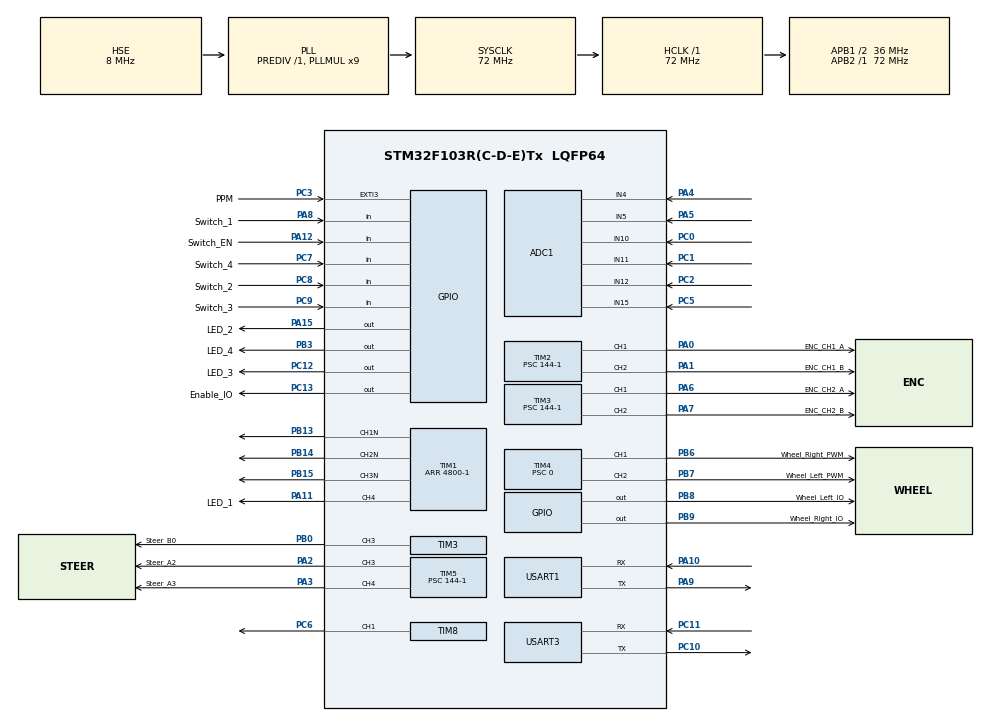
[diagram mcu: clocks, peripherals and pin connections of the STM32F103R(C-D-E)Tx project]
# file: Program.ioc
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ADC1.Channel-0\#ChannelRegularConversion=ADC_CHANNEL_4
ADC1.Channel-1\#ChannelRegularConversion=ADC_CHANNEL_15
ADC1.Channel-2\#ChannelRegularConversion=ADC_CHANNEL_5
ADC1.Channel-3\#ChannelRegularConversion=ADC_CHANNEL_10
ADC1.Channel-4\#ChannelRegularConversion=ADC_CHANNEL_11
ADC1.Channel-5\#ChannelRegularConversion=ADC_CHANNEL_12
ADC1.ContinuousConvMode=ENABLE
ADC1.NbrOfConversion=6
ADC1.NbrOfConversionFlag=1
ADC1.Rank-0\#ChannelRegularConversion=1
ADC1.Rank-1\#ChannelRegularConversion=2
ADC1.Rank-2\#ChannelRegularConversion=3
ADC1.Rank-3\#ChannelRegularConversion=4
ADC1.Rank-4\#ChannelRegularConversion=5
ADC1.Rank-5\#ChannelRegularConversion=6
ADC1.SamplingTime-0\#ChannelRegularConversion=ADC_SAMPLETIME_239CYCLES_5
ADC1.SamplingTime-1\#ChannelRegularConversion=ADC_SAMPLETIME_239CYCLES_5
ADC1.SamplingTime-2\#ChannelRegularConversion=ADC_SAMPLETIME_239CYCLES_5
ADC1.SamplingTime-3\#ChannelRegularConversion=ADC_SAMPLETIME_239CYCLES_5
ADC1.SamplingTime-4\#ChannelRegularConversion=ADC_SAMPLETIME_239CYCLES_5
ADC1.SamplingTime-5\#ChannelRegularConversion=ADC_SAMPLETIME_239CYCLES_5
ADC1.master=1
Dma.ADC1.0.Direction=DMA_PERIPH_TO_MEMORY
Dma.ADC1.0.Instance=DMA1_Channel1
Dma.ADC1.0.MemDataAlignment=DMA_MDATAALIGN_HALFWORD
Dma.ADC1.0.MemInc=DMA_MINC_ENABLE
Dma.ADC1.0.Mode=DMA_CIRCULAR
Dma.ADC1.0.PeriphDataAlignment=DMA_PDATAALIGN_HALFWORD
Dma.ADC1.0.PeriphInc=DMA_PINC_DISABLE
Dma.ADC1.0.Priority=DMA_PRIORITY_LOW
Dma.Request0=ADC1
Dma.Request1=USART1_TX
Dma.USART1_TX.1.Direction=DMA_MEMORY_TO_PERIPH
Dma.USART1_TX.1.Instance=DMA1_Channel4
Dma.USART1_TX.1.MemDataAlignment=DMA_MDATAALIGN_BYTE
Dma.USART1_TX.1.MemInc=DMA_MINC_ENABLE
Dma.USART1_TX.1.Mode=DMA_NORMAL
Dma.USART1_TX.1.PeriphDataAlignment=DMA_PDATAALIGN_BYTE
Dma.USART1_TX.1.PeriphInc=DMA_PINC_DISABLE
Dma.USART1_TX.1.Priority=DMA_PRIORITY_HIGH
Mcu.Family=STM32F1
Mcu.Name=STM32F103R(C-D-E)Tx
Mcu.Package=LQFP64
Mcu.UserConstants=huart_DBG,$$_USART1_IP_HANDLE_$$;huart_USER,$$_USART3_IP_HANDLE_$$;htim_RC,$$_TIM6_IP_HANDLE_$$
NVIC.DMA1_Channel1_IRQn=true\:0\:0\:false\:false\:true\:false\:true\:true
NVIC.DMA1_Channel4_IRQn=true\:0\:0\:false\:false\:true\:false\:true\:true
NVIC.EXTI3_IRQn=true\:0\:0\:false\:false\:true\:true\:true\:true
NVIC.PriorityGroup=NVIC_PRIORITYGROUP_4
NVIC.TIM6_IRQn=true\:0\:0\:false\:false\:true\:true\:true\:true
NVIC.TIM7_IRQn=true\:15\:0\:false\:false\:true\:false\:true\:true
NVIC.TimeBase=TIM7_IRQn
NVIC.TimeBaseIP=TIM7
PA0-WKUP.GPIO_Label=ENC_CH1_A
PA0-WKUP.GPIO_Speed=GPIO_SPEED_FREQ_HIGH
PA0-WKUP.Signal=S_TIM2_CH1_ETR
PA1.GPIO_Label=ENC_CH1_B
PA1.GPIO_Speed=GPIO_SPEED_FREQ_HIGH
PA1.Signal=S_TIM2_CH2
PA10.Mode=Asynchronous
PA10.Signal=USART1_RX
PA11.GPIO_Label=LED_1
PA11.Signal=S_TIM1_CH4
PA12.GPIO_Label=Switch_EN
PA12.Signal=GPIO_Input
PA13.Mode=Serial_Wire
PA13.Signal=SYS_JTMS-SWDIO
PA14.Mode=Serial_Wire
PA14.Signal=SYS_JTCK-SWCLK
PA15.GPIO_Label=LED_2
PA15.GPIO_Speed=GPIO_SPEED_FREQ_HIGH
PA15.Signal=GPIO_Output
PA2.GPIO_Label=Steer_A2
PA2.GPIO_Speed=GPIO_SPEED_FREQ_HIGH
PA2.Signal=S_TIM5_CH3
PA3.GPIO_Label=Steer_A3
PA3.GPIO_Speed=GPIO_SPEED_FREQ_HIGH
PA3.Signal=S_TIM5_CH4
PA4.Signal=ADCx_IN4
PA5.Signal=ADCx_IN5
PA6.GPIO_Label=ENC_CH2_A
PA6.GPIO_Speed=GPIO_SPEED_FREQ_HIGH
PA6.Signal=S_TIM3_CH1
PA7.GPIO_Label=ENC_CH2_B
PA7.GPIO_Speed=GPIO_SPEED_FREQ_HIGH
PA7.Signal=S_TIM3_CH2
PA8.GPIO_Label=Switch_1
PA8.GPIO_PuPd=GPIO_PULLUP
PA8.Signal=GPIO_Input
PA9.Mode=Asynchronous
PA9.Signal=USART1_TX
PB0.GPIO_Label=Steer_B0
PB0.GPIO_Speed=GPIO_SPEED_FREQ_HIGH
PB0.Signal=S_TIM3_CH3
PB13.GPIO_Speed=GPIO_SPEED_FREQ_HIGH
PB13.Mode=Output Compare1 CH1N
PB13.Signal=TIM1_CH1N
PB14.GPIO_Speed=GPIO_SPEED_FREQ_HIGH
PB14.Mode=Output Compare2 CH2N
PB14.Signal=TIM1_CH2N
PB15.GPIO_Speed=GPIO_SPEED_FREQ_HIGH
PB15.Mode=Output Compare3 CH3N
PB15.Signal=TIM1_CH3N
PB3.GPIO_Label=LED_4
PB3.GPIO_Speed=GPIO_SPEED_FREQ_HIGH
PB3.Signal=GPIO_Output
PB6.GPIO_Label=Wheel_Right_PWM
PB6.GPIO_Speed=GPIO_SPEED_FREQ_HIGH
PB6.Signal=S_TIM4_CH1
PB7.GPIO_Label=Wheel_Left_PWM
PB7.Signal=S_TIM4_CH2
PB8.GPIO_Label=Wheel_Left_IO
PB8.GPIO_Speed=GPIO_SPEED_FREQ_HIGH
PB8.Signal=GPIO_Output
PB9.GPIO_Label=Wheel_Right_IO
PB9.GPIO_Speed=GPIO_SPEED_FREQ_HIGH
PB9.Signal=GPIO_Output
PC0.Signal=ADCx_IN10
PC1.Signal=ADCx_IN11
PC10.Mode=Asynchronous
PC10.Signal=USART3_TX
PC11.Mode=Asynchronous
PC11.Signal=USART3_RX
PC12.GPIO_Label=LED_3
PC12.GPIO_Speed=GPIO_SPEED_FREQ_HIGH
PC12.Signal=GPIO_Output
PC13-TAMPER-RTC.GPIO_Label=Enable_IO
PC13-TAMPER-RTC.GPIO_Speed=GPIO_SPEED_FREQ_HIGH
PC13-TAMPER-RTC.Signal=GPIO_Output
PC2.Signal=ADCx_IN12
PC3.GPIO_Label=PPM
PC3.GPIO_ModeDefaultEXTI=GPIO_MODE_IT_FALLING
PC3.Signal=GPXTI3
PC5.Signal=ADCx_IN15
PC6.GPIO_Speed=GPIO_SPEED_FREQ_HIGH
PC6.Signal=S_TIM8_CH1
PC7.GPIO_Label=Switch_4
PC7.GPIO_PuPd=GPIO_PULLUP
PC7.Signal=GPIO_Input
PC8.GPIO_Label=Switch_2
PC8.GPIO_PuPd=GPIO_PULLUP
PC8.Signal=GPIO_Input
PC9.GPIO_Label=Switch_3
PC9.GPIO_PuPd=GPIO_PULLUP
PC9.Signal=GPIO_Input
PD0-OSC_IN.Mode=HSE-External-Oscillator
PD0-OSC_IN.Signal=RCC_OSC_IN
PD1-OSC_OUT.Mode=HSE-External-Oscillator
PD1-OSC_OUT.Signal=RCC_OSC_OUT
ProjectManager.HeapSize=0x200
ProjectManager.StackSize=0x400
ProjectManager.TargetToolchain=CMake
RCC.ADCPresc=RCC_ADCPCLK2_DIV6
RCC.AHBFreq_Value=72000000
RCC.APB1CLKDivider=RCC_HCLK_DIV2
RCC.APB1Freq_Value=36000000
RCC.APB1TimFreq_Value=72000000
RCC.APB2Freq_Value=72000000
RCC.APB2TimFreq_Value=72000000
RCC.HCLKFreq_Value=72000000
RCC.PLLMUL=RCC_PLL_MUL9
RCC.PLLSourceVirtual=RCC_PLLSOURCE_HSE
RCC.RCC_MCOSource=RCC_MCO1SOURCE_PLLCLK
RCC.SYSCLKFreq_VALUE=72000000
RCC.SYSCLKSource=RCC_SYSCLKSOURCE_PLLCLK
RCC.USBFreq_Value=72000000
SH.ADCx_IN10.0=ADC1_IN10,IN10
SH.ADCx_IN11.0=ADC1_IN11,IN11
SH.ADCx_IN12.0=ADC1_IN12,IN12
SH.ADCx_IN15.0=ADC1_IN15,IN15
SH.ADCx_IN4.0=ADC1_IN4,IN4
SH.ADCx_IN5.0=ADC1_IN5,IN5
SH.S_TIM1_CH4.0=TIM1_CH4,PWM Generation4 CH4
SH.S_TIM2_CH1_ETR.0=TIM2_CH1,PWM Generation1 CH1
SH.S_TIM2_CH2.0=TIM2_CH2,PWM Generation2 CH2
SH.S_TIM3_CH1.0=TIM3_CH1,PWM Generation1 CH1
SH.S_TIM3_CH2.0=TIM3_CH2,PWM Generation2 CH2
SH.S_TIM3_CH3.0=TIM3_CH3,PWM Generation3 CH3
SH.S_TIM4_CH1.0=TIM4_CH1,PWM Generation1 CH1
SH.S_TIM4_CH2.0=TIM4_CH2,PWM Generation2 CH2
SH.S_TIM5_CH3.0=TIM5_CH3,PWM Generation3 CH3
SH.S_TIM5_CH4.0=TIM5_CH4,PWM Generation4 CH4
SH.S_TIM8_CH1.0=TIM8_CH1,PWM Generation1 CH1
TIM1.AutoReloadPreload=TIM_AUTORELOAD_PRELOAD_ENABLE
TIM1.Channel-Output\ Compare1\ CH1N=TIM_CHANNEL_1
TIM1.Channel-Output\ Compare2\ CH2N=TIM_CHANNEL_2
TIM1.Channel-Output\ Compare3\ CH3N=TIM_CHANNEL_3
TIM1.Channel-PWM\ Generation4\ CH4=TIM_CHANNEL_4
TIM1.OC1Preload=ENABLE
TIM1.OC2Preload=ENABLE
TIM1.OC3Preload=ENABLE
TIM1.OCMode_1=TIM_OCMODE_TOGGLE
TIM1.OCMode_2=TIM_OCMODE_ACTIVE
TIM1.OCMode_3=TIM_OCMODE_FORCED_ACTIVE
TIM1.OCNPolarity_1=TIM_OCNPOLARITY_HIGH
TIM1.OCNPolarity_2=TIM_OCNPOLARITY_HIGH
TIM1.OCNPolarity_3=TIM_OCNPOLARITY_HIGH
TIM1.Period=4800-1
TIM1.Pulse-Output\ Compare1\ CH1N=500
TIM1.Pulse-Output\ Compare2\ CH2N=500
TIM1.Pulse-Output\ Compare3\ CH3N=500
TIM2.AutoReloadPreload=TIM_AUTORELOAD_PRELOAD_ENABLE
TIM2.Channel-PWM\ Generation1\ CH1=TIM_CHANNEL_1
TIM2.Channel-PWM\ Generation2\ CH2=TIM_CHANNEL_2
TIM2.Period=10000-1
TIM2.Prescaler=144-1
TIM2.Pulse-PWM\ Generation1\ CH1=750
TIM2.Pulse-PWM\ Generation2\ CH2=750
TIM3.AutoReloadPreload=TIM_AUTORELOAD_PRELOAD_ENABLE
TIM3.Channel-PWM\ Generation1\ CH1=TIM_CHANNEL_1
TIM3.Channel-PWM\ Generation2\ CH2=TIM_CHANNEL_2
TIM3.Channel-PWM\ Generation3\ CH3=TIM_CHANNEL_3
TIM3.Period=10000-1
TIM3.Prescaler=144-1
TIM3.Pulse-PWM\ Generation1\ CH1=750
TIM3.Pulse-PWM\ Generation2\ CH2=750
TIM3.Pulse-PWM\ Generation3\ CH3=750
TIM4.AutoReloadPreload=TIM_AUTORELOAD_PRELOAD_ENABLE
TIM4.Channel-PWM\ Generation1\ CH1=TIM_CHANNEL_1
TIM4.Channel-PWM\ Generation2\ CH2=TIM_CHANNEL_2
TIM4.OCFastMode_PWM-PWM\ Generation1\ CH1=TIM_OCFAST_DISABLE
TIM4.Period=4800-1
TIM4.Prescaler=0
TIM4.Pulse-PWM\ Generation1\ CH1=0
TIM5.AutoReloadPreload=TIM_AUTORELOAD_PRELOAD_ENABLE
TIM5.Channel-PWM\ Generation3\ CH3=TIM_CHANNEL_3
TIM5.Channel-PWM\ Generation4\ CH4=TIM_CHANNEL_4
TIM5.Period=10000
TIM5.Prescaler=144-1
TIM5.Pulse-PWM\ Generation3\ CH3=750
TIM5.Pulse-PWM\ Generation4\ CH4=750
TIM6.AutoReloadPreload=TIM_AUTORELOAD_PRELOAD_ENABLE
TIM6.Period=0xFFFF
TIM6.Prescaler=72-1
TIM8.Channel-PWM\ Generation1\ CH1=TIM_CHANNEL_1
TIM8.Period=4800-1
TIM8.Prescaler=0
USART1.VirtualMode=VM_ASYNC
USART3.VirtualMode=VM_ASYNC
VP_SYS_VS_tim7.Mode=TIM7
VP_TIM1_VS_ClockSourceINT.Mode=Internal
VP_TIM2_VS_ClockSourceINT.Mode=Internal
VP_TIM3_VS_ClockSourceINT.Mode=Internal
VP_TIM4_VS_ClockSourceINT.Mode=Internal
VP_TIM5_VS_ClockSourceINT.Mode=Internal
VP_TIM6_VS_ClockSourceINT.Mode=Enable_Timer
VP_TIM8_VS_ClockSourceINT.Mode=Internal
board=custom

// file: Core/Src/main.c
/* USER CODE BEGIN Header */
/**
  ******************************************************************************
  * @file           : main.c
  * @brief          : Main program body
  ******************************************************************************
  * @attention
  *
  * Copyright (c) 2023 STMicroelectronics.
  * All rights reserved.
  *
  * This software is licensed under terms that can be found in the LICENSE file
  * in the root directory of this software component.
  * If no LICENSE file comes with this software, it is provided AS-IS.
  *
  ******************************************************************************
  */
 /* * * * * * * * * * * * * * * * * * * * * * * * * * * * * * * * * * * * * * * * * * * * * * * * * * *
  *....................................................................................................*
  *....................................................................................................*
  *....................................................................................................*
  *.............................................tttttttttttttttttttttt.................................*
  *............................................ttttttttttttttttttttttt.................................*
  *............................................tttttttttttttttttttttt..................................*
  *...........................................tttttttttttttttttttttt...................................*
  *..........................................ttttttttttttttttttttttt...................................*
  *..........................................tttttttttttttttttttttt....................................*
  *..........................................ttttttttttttttttttttt.....................................*
  *....................................................................................................*
  *....................ttttttttttttt.......tttttttttttttttttttttt...tttttttttt.........................*
  *...................tttttttttttt.....ttttttttttttttttttttttttt....tttttttttt.........................*
  *...................tttttttt......tttttttttttttttttttttttttttt...tttttttttt..........................*
  *..................ttttt......ttttttttttttttttttttttttttttttt...tttttttttt...........................*
  *.................ttt......ttttttttttttttttttttttttttttttttt....tttttttttt...........................*
  *................tt....ttttttttttttttttttttttttttttttttttttt...tttttttttt............................*
  *...................ttttttttttttttttttttttttttttttttttttttt....ttttttttt.............................*
  *................................ttttttttttttttttttttttttt...........................................*
  *...............................tttttttttttttttttttttttttt...........................................*
  *..............................tttttttttttttttttttttttttt............................................*
  *..............................ttttttttttttttttttttttttt.............................................*
  *.............................tttttttttttttttttttttttttt.............................................*
  *............................ttttttttttttttttttttttttttt........ttt..................................*
  *............................ttttttttttttttttttttttttttttttttttttt...................................*
  *...........................ttttttttttttttttttttttttttttttttttttt....................................*
  *...........................tttttttttttttttttttttttttttttttttttt.....................................*
  *...........................tttttttttttttttttttttttttttttttttttt.....................................*
  *...........................ttttttttttttttttttttttttttttttttttt......................................*
  *............................ttttttttttttttttttttttttttttttttt.......................................*
  *.............................ttttttttttttttttttttttttttttttt........................................*
  *..............................tttttttttttttttttttttttttttt..........................................*
  *.................................ttttttttttttttttttttt..............................................*
  *........................................tttttt......................................................*
  *....................................................................................................*
  *....................................................................................................*
   * * * * * * * * * * * * * * * * * * * * * * * * * * * * * * * * * * * * * * * * * * * * * * * * * * *
  */

/* USER CODE END Header */
#include "main.h"
#include "adc.h"
#include "board.h"
#include "dma.h"
#include "pid.h"
#include "stm32f103xe.h"
#include "stm32f1xx_hal_gpio.h"
#include "tim.h"
#include "usart.h"
#include "gpio.h"

/* USER CODE BEGIN Includes */
#include "headfiles.h"
#include "TOTLib.h"
#include <math.h>
#include <stdint.h>
/* USER CODE END Includes */

/* USER CODE BEGIN PD */
#define Steer_PWM_Center        747
#define Steer_PWM_Limit_Lift    (Steer_PWM_Center - KR)//616
#define Steer_PWM_Limit_Right   (Steer_PWM_Center + KR)//872
#define MAGNET_SENSOR_PORT      GPIOC
#define MAGNET_SENSOR_PIN       GPIO_PIN_6
#define MAGNET_ACTIVE_LEVEL     GPIO_PIN_RESET
#define MAGNET_ARM_DELAY_MS     5000U
#define MAGNET_DEBOUNCE_MS      20U
#define MOTOR_ENABLE_DELAY_MS   3000U
#define BRAKE_REVERSE_SPEED     (-180)
#define BRAKE_REVERSE_MS        200U
#define DEADZONE                0.03
#define KR                      131U        // PID 输出转化为位置值的比例系数 && 舵机最大PWM变化量
#define ADCMIN                  0.0
#define ADCMAX                  4095.0

/* USER CODE END PD */

/* USER CODE BEGIN PV */
static uint32_t now;
static uint32_t Background_LastTick;
static TOT_MovingAverage3_t AD_Left_Filter;
static TOT_MovingAverage3_t AD_Right_Filter;

/* USER CODE END PV */

void SystemClock_Config(void);
/* USER CODE BEGIN PFP */
static void SteeringControlUpdate(void);
static void updateMagnetStop(uint32_t now);
static void updateMotorControl(uint32_t now);
static int16_t calculateDriveSpeed(void);

/* USER CODE END PFP */

/* USER CODE BEGIN 0 */
/*                          全局状态变量定义                                     */
volatile int16_t AD_Left, AD_Right;                         // 左右两路 ADC 采样值
static int16_t AD_Left_filted, AD_Right_filted;                    // 左右两路 ADC 滤波后值
static float AD_Left_Normalized , AD_Right_Normalized;      //左右两路归一化值
float currErr = 0;                                          //均值滤波->差比和
float rawErr = 0;                                           //原值->差比和
static float pidOut = 0;                                           // 当前误差值(-1~1)
float posErr = 0;                                           // 误差值转化为位置值(+-130)
int16_t Wheel_Left_Speed;                               // 电机目标速度
static float kv  = 0;
uint16_t steerOutput = 747U;                                // 转向 PWM 输出值
static float kp = 0.0f;
static float ki = 0.0f;
static float kd = 0.0f;
float s =  0.0f;                                     //线性插值因子 && 速度因子
static uint8_t stopSignal = 0U;

/*                                     全局常量定义                                          */
static PID_HandleTypeDef PIDcontroller;                          // PID 控制器
static PID_InitTypeDef PIDInit;                  // PID 控制器初始化结构体
static PID_TypeDef PID = {
  .iOutMax = 0.0f,
  .outMaxABS = 1.0f
};
static const PID_Map PIDMap = {
    .KpMin = 0.5f,
    .KiMin = 0.0f,
    .KdMin = 4.2f,
    .KpMax = 1.7f,
    .KiMax = 0.0f,
    .KdMax = 0.7f
};

/* USER CODE END 0 */

int main(void)
{

  /* MCU Configuration--------------------------------------------------------*/

  /* Reset of all peripherals, Initializes the Flash interface and the Systick. */
   HAL_Init();

  /* Configure the system clock */
  SystemClock_Config();

  /* Initialize all configured peripherals */
  MX_GPIO_Init();
  MX_DMA_Init();
  MX_USART1_UART_Init();
  MX_USART3_UART_Init();
  MX_TIM3_Init();
  MX_TIM5_Init();
  MX_TIM4_Init();
  MX_TIM6_Init();
  MX_TIM2_Init();
  MX_TIM8_Init();
  GPIO_InitTypeDef magnetGPIO = {0};
  magnetGPIO.Pin = MAGNET_SENSOR_PIN;
  magnetGPIO.Mode = GPIO_MODE_INPUT;
  magnetGPIO.Pull = GPIO_PULLUP;
  HAL_GPIO_Init(MAGNET_SENSOR_PORT, &magnetGPIO);
  MX_TIM1_Init();
  MX_ADC1_Init();
  /* USER CODE BEGIN 2 */
  PWM_Init();   // PWM 初始化
  RC_Init();    // SBUS 遥控接收初始化

  /* ADC 初始化 */
  ADC_Init();
  Background_LastTick = HAL_GetTick();

  //PID初始化
  PIDInit = (PID_InitTypeDef){
      .mode = PID_MODE_POSITION,
      .kp = kp,
      .ki = ki,
      .kd = kd,
      .iOutMax = 0.0f,
      .outMax = 1.0f
  };
  PID_init(&PIDcontroller, &PIDInit);

  //PID_LoadGains(&PID, kp, ki, kd);

  /* USER CODE END 2 */

  /* Infinite loop */
  /* USER CODE BEGIN WHILE */
  while (1)
  {
      now = HAL_GetTick();
      updateMagnetStop(now);
      if ((uint32_t)(now - Background_LastTick) < 10U)
      {
        __WFI();
        continue;
      }
      Background_LastTick = now;

      updateMotorControl(now);

      // 根据开关状态更新 LED 和 PWM 呼吸灯
      PWM_SetPin(PIN_PA11, Switch_GetState_Index(Switch_Index_1) * PWM_BreathDuty());
      HAL_GPIO_WritePin(LED_2_GPIO_Port, LED_2_Pin, Switch_GetState_Index(Switch_Index_2));
      HAL_GPIO_WritePin(LED_3_GPIO_Port, LED_3_Pin, Switch_GetState_Index(Switch_Index_3));
      HAL_GPIO_WritePin(LED_4_GPIO_Port, LED_4_Pin, Switch_GetState_Index(Switch_Index_4));

      // 发送实时数据到串口调试界面
      VOFA_JustFloat(&huart_DBG);

    /* USER CODE END WHILE */

  }
}

void SystemClock_Config(void)
{
  RCC_OscInitTypeDef RCC_OscInitStruct = {0};
  RCC_ClkInitTypeDef RCC_ClkInitStruct = {0};
  RCC_PeriphCLKInitTypeDef PeriphClkInit = {0};

  /** Initializes the RCC Oscillators according to the specified parameters
  * in the RCC_OscInitTypeDef structure.
  */
  RCC_OscInitStruct.OscillatorType = RCC_OSCILLATORTYPE_HSE;
  RCC_OscInitStruct.HSEState = RCC_HSE_ON;
  RCC_OscInitStruct.HSEPredivValue = RCC_HSE_PREDIV_DIV1;
  RCC_OscInitStruct.HSIState = RCC_HSI_ON;
  RCC_OscInitStruct.PLL.PLLState = RCC_PLL_ON;
  RCC_OscInitStruct.PLL.PLLSource = RCC_PLLSOURCE_HSE;
  RCC_OscInitStruct.PLL.PLLMUL = RCC_PLL_MUL9;
  if (HAL_RCC_OscConfig(&RCC_OscInitStruct) != HAL_OK)
  {
    Error_Handler();
  }

  /** Initializes the CPU, AHB and APB buses clocks
  */
  RCC_ClkInitStruct.ClockType = RCC_CLOCKTYPE_HCLK|RCC_CLOCKTYPE_SYSCLK
                              |RCC_CLOCKTYPE_PCLK1|RCC_CLOCKTYPE_PCLK2;
  RCC_ClkInitStruct.SYSCLKSource = RCC_SYSCLKSOURCE_PLLCLK;
  RCC_ClkInitStruct.AHBCLKDivider = RCC_SYSCLK_DIV1;
  RCC_ClkInitStruct.APB1CLKDivider = RCC_HCLK_DIV2;
  RCC_ClkInitStruct.APB2CLKDivider = RCC_HCLK_DIV1;

  if (HAL_RCC_ClockConfig(&RCC_ClkInitStruct, FLASH_LATENCY_2) != HAL_OK)
  {
    Error_Handler();
  }
  PeriphClkInit.PeriphClockSelection = RCC_PERIPHCLK_ADC;
  PeriphClkInit.AdcClockSelection = RCC_ADCPCLK2_DIV6;
  if (HAL_RCCEx_PeriphCLKConfig(&PeriphClkInit) != HAL_OK)
  {
    Error_Handler();
  }
}

/* USER CODE BEGIN 4 */
static void SteeringControlUpdate(void)
{
  steerOutput = Steer_PWM_Center + (int16_t)posErr;
  steerOutput = Data_Limit(steerOutput, Steer_PWM_Limit_Lift, Steer_PWM_Limit_Right);
}

static void updateADC(void){
  AD_Left = ADC_ReadPin(PIN_PC5);
  AD_Right = ADC_ReadPin(PIN_PA4);

  rawErr = TOT_DiffRatio(
    TOT_normalize(AD_Left,ADCMIN,ADCMAX),
    TOT_normalize(AD_Right,ADCMIN, ADCMAX)); //-1~1

  AD_Left_filted = TOT_AverageFilt(&AD_Left_Filter, AD_Left);
  AD_Right_filted = TOT_AverageFilt(&AD_Right_Filter, AD_Right);
  AD_Left_Normalized = TOT_normalize(AD_Left_filted,ADCMIN , ADCMAX);
  AD_Right_Normalized = TOT_normalize(AD_Right_filted,ADCMIN , ADCMAX);
  currErr = TOT_DiffRatio(AD_Left_Normalized, AD_Right_Normalized); //-1~1
  currErr = clampf(currErr, -1 , 1);

  applyDeadZone(&currErr , DEADZONE);
  applyDeadZone(&rawErr , DEADZONE);
}

static void updatePID(void){
  pidOut = PID_calc_err(&PIDcontroller, -currErr);
  posErr = pidOut > 0 ? pidOut *  KR  : pidOut * (KR + 1);

}

/*currErr: 0------------0.06-----------0.5--------------1*/
/*s      : 0-------------0----0~1线性---1----------------1*/
static void updatePID_TOT(void){
  s = TOT_normalize(fabs(currErr) , 0.07 , 0.5);
  s = clampf(s , 0.0f , 1.0f);
  kp = lerp(PIDMap.KpMin , PIDMap.KpMax , s);
  kd = lerp(PIDMap.KdMin , PIDMap.KdMax , s);

  PID_LoadGains(&PID,kp,ki,kd);
  pidOut = PID_Calculate(&PID, -currErr, 0.0f, -rawErr);
  posErr = pidOut > 0 ? pidOut *  KR  : pidOut * (KR + 1);

}

static void updateSpeed(void){
    // set lower speed when rotating
  kv = 1 - s;
}

static int16_t calculateDriveSpeed(void)
{
  if (Switch_GetState_Index(Switch_Index_1))
  {
    return 320 + 220 * kv * kv * kv;
  }

  return 400 + 300 * kv * kv * kv;
}

static void updateMotorControl(uint32_t now)
{
  static uint32_t enableStartedAt;
  static uint8_t enableTiming;

  Switch_GetCode();

  if (!Switch_EN_ON)
  {
    enableTiming = 0U;
    Motor_DriverEnable(0);
    Wheel_Left_Speed = 0;
  }
  else if (stopSignal == 2U)
  {
    Motor_DriverEnable(0);
    Wheel_Left_Speed = 0;
  }
  else if (stopSignal == 1U)
  {
    Motor_DriverEnable(1);
    Wheel_Left_Speed = BRAKE_REVERSE_SPEED;
  }
  else
  {
    if (!enableTiming)
    {
      enableStartedAt = now;
      enableTiming = 1U;
    }

    if ((uint32_t)(now - enableStartedAt) < MOTOR_ENABLE_DELAY_MS)
    {
      Motor_DriverEnable(0);
      Wheel_Left_Speed = 0;
    }
    else
    {
      Motor_DriverEnable(1);
      Wheel_Left_Speed = calculateDriveSpeed();
    }
  }

  Motor_SetSpeed(MOTOR_LEFT, Wheel_Left_Speed);
}

static void updateMagnetStop(uint32_t now)
{
  typedef enum
  {
    MAGNET_WAITING,
    MAGNET_ARMING,
    MAGNET_ARMED
  } MagnetArmState;

  static uint32_t enableStartedAt;
  static uint32_t brakeStartedAt;
  static MagnetArmState armState = MAGNET_WAITING;
  static uint8_t debouncedState;
  static Debouncer_t magnetDebouncer;

  if (!Switch_EN_ON)
  {
    stopSignal = 0U;
    armState = MAGNET_WAITING;
    return;
  }

  if (stopSignal != 0U)
  {
    if (stopSignal == 1U &&
        (uint32_t)(now - brakeStartedAt) >= BRAKE_REVERSE_MS)
    {
      stopSignal = 2U;
    }
    return;
  }

  if (armState == MAGNET_WAITING)
  {
    enableStartedAt = now;
    armState = MAGNET_ARMING;
  }

  if (armState == MAGNET_ARMING)
  {
    if ((uint32_t)(now - enableStartedAt) < MAGNET_ARM_DELAY_MS)
    {
      return;
    }

    GPIO_PinState rawState = HAL_GPIO_ReadPin(MAGNET_SENSOR_PORT, MAGNET_SENSOR_PIN);
    debouncedState = (rawState == MAGNET_ACTIVE_LEVEL) ? 1U : 0U;
    Debouncer_Init(&magnetDebouncer, debouncedState, MAGNET_DEBOUNCE_MS,
                   DEBOUNCER_EDGE_RISING, now);
    armState = MAGNET_ARMED;
    return;
  }

  GPIO_PinState rawState = HAL_GPIO_ReadPin(MAGNET_SENSOR_PORT, MAGNET_SENSOR_PIN);
  uint8_t filteredState = Debouncer_calc(
      &magnetDebouncer, rawState == MAGNET_ACTIVE_LEVEL, now);
  if (!debouncedState && filteredState)
  {
    stopSignal = 1U;
    brakeStartedAt = now;
  }

  debouncedState = filteredState;
}

/* USER CODE END 4 */

void HAL_TIM_PeriodElapsedCallback(TIM_HandleTypeDef *htim)
{
  if (htim->Instance == TIM7)
  {
    static uint8_t sample_divider = 0U;
    static uint8_t control_divider = 0U;

    HAL_IncTick();
    sample_divider++;
    control_divider++;

    if (sample_divider >= 5U)
    {
      sample_divider = 0U;
      updateADC();
      updatePID_TOT();
      SteeringControlUpdate();
      PWM_SetPin(PIN_PA3, steerOutput);
      PWM_SetPin(PIN_PB0, steerOutput);
    }

    if (control_divider >= 10U)
    {
      control_divider = 0U;
      //updatePID();
      //updateADC();
      //SteeringControlUpdate();
      updateSpeed();
      //PWM_SetPin(PIN_PB0, steerOutput);
    }
  }
}

void Error_Handler(void)
{
  __disable_irq();
  while (1)
  {
  }
}
